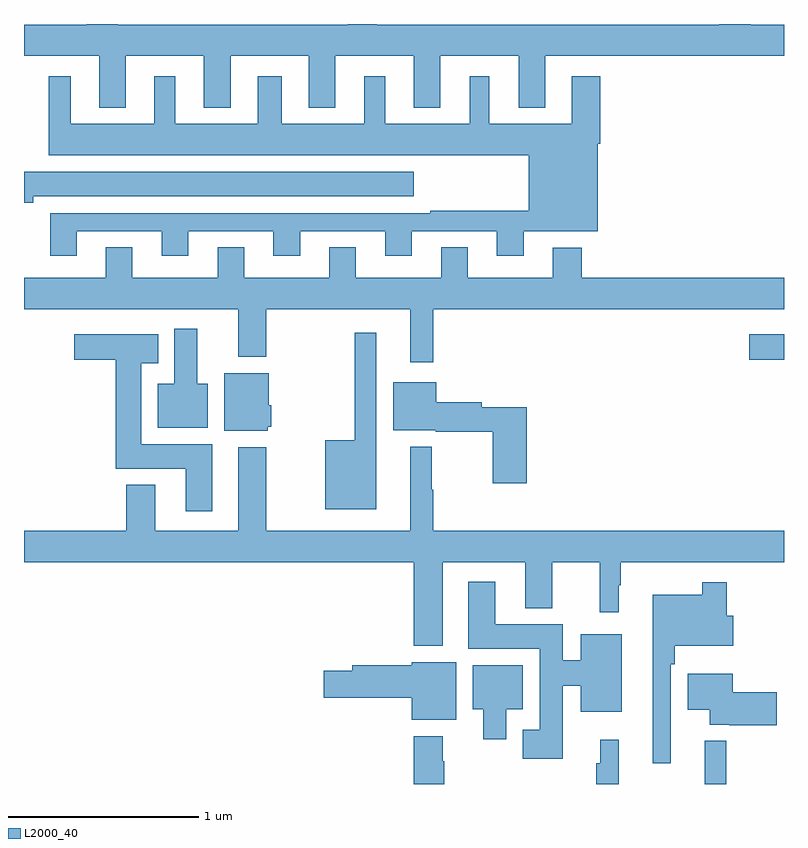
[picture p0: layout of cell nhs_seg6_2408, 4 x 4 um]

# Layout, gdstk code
import gdstk
lib = gdstk.Library(unit=1e-6, precision=1e-09)
def R(c, l, rs):  # rectangles x0, y0, x1, y1
    for r in rs: c.add(gdstk.rectangle(r[:2], r[2:], *l))
def P(c, l, *ps):  # polygons
    for p in ps: c.add(gdstk.Polygon(p, *l))
L2000_40 = (2000, 40)

nhs_seg6_2408 = lib.new_cell('nhs_seg6_2408')
R(nhs_seg6_2408, L2000_40, [(258.584,947.5,258.697,947.728), (258.816,949.733,259,949.867)])
P(nhs_seg6_2408, L2000_40, [(255.494,951.5),(255.329,951.5),(255.329,951.496),(255,951.496),(255,951.332),(255.395,951.332),(255.395,951.059),(255.535,951.059),(255.535,951.332),(255.947,951.332),(255.947,951.059),(256.087,951.059),(256.087,951.332),(256.499,951.332),(256.499,951.059),(256.639,951.059),(256.639,951.332),(257.051,951.332),(257.051,951.059),(257.191,951.059),(257.191,951.332),(257.603,951.332),(257.603,951.059),(257.743,951.059),(257.743,951.332),(259,951.332),(259,951.496),(258.824,951.496),(258.824,951.5),(258.659,951.5),(258.659,951.496),(256.856,951.496),(256.856,951.5),(256.704,951.5),(256.704,951.496),(255.494,951.496)],
  [(255.277,950.409),(255.725,950.409),(255.725,950.28),(255.865,950.28),(255.865,950.409),(256.313,950.409),(256.313,950.28),(256.453,950.28),(256.453,950.409),(256.901,950.409),(256.901,950.28),(257.041,950.28),(257.041,950.409),(257.489,950.409),(257.489,950.28),(257.629,950.28),(257.629,950.408),(258.019,950.408),(258.019,950.87),(258.032,950.87),(258.032,951.226),(257.882,951.226),(257.882,950.974),(257.449,950.974),(257.449,951.226),(257.345,951.226),(257.345,950.974),(256.9,950.974),(256.9,951.226),(256.79,951.226),(256.79,950.974),(256.357,950.974),(256.357,951.226),(256.229,951.226),(256.229,950.974),(255.796,950.974),(255.796,951.226),(255.686,951.226),(255.686,950.974),(255.247,950.974),(255.247,951.226),(255.131,951.226),(255.131,950.81),(257.657,950.81),(257.657,950.518),(257.137,950.518),(257.137,950.505),(255.137,950.505),(255.137,950.28),(255.277,950.28)],
  [(255.049,950.594),(257.05,950.594),(257.05,950.722),(255,950.722),(255,950.558),(255.049,950.558)],
  [(257.154,950),(259,950),(259,950.164),(257.936,950.164),(257.936,950.323),(257.783,950.323),(257.783,950.164),(257.335,950.164),(257.335,950.324),(257.195,950.324),(257.195,950.164),(256.747,950.164),(256.747,950.324),(256.607,950.324),(256.607,950.164),(256.159,950.164),(256.159,950.324),(256.019,950.324),(256.019,950.164),(255.571,950.164),(255.571,950.324),(255.431,950.324),(255.431,950.164),(255,950.164),(255,950),(256.127,950),(256.127,949.748),(256.275,949.748),(256.275,950),(257.033,950),(257.033,949.719),(257.154,949.719)],
  [(255.967,949.606),(255.913,949.606),(255.913,949.897),(255.791,949.897),(255.791,949.606),(255.704,949.606),(255.704,949.376),(255.967,949.376)],
  [(256.855,949.876),(256.741,949.876),(256.741,949.309),(256.586,949.309),(256.586,948.947),(256.855,948.947)],
  [(255.991,949.288),(255.616,949.288),(255.616,949.715),(255.706,949.715),(255.706,949.867),(255.264,949.867),(255.264,949.733),(255.482,949.733),(255.482,949.16),(255.851,949.16),(255.851,948.936),(255.991,948.936)],
  [(256.284,949.38),(256.3,949.38),(256.3,949.494),(256.288,949.494),(256.288,949.663),(256.055,949.663),(256.055,949.358),(256.284,949.358)],
  [(257.645,949.484),(257.41,949.484),(257.41,949.509),(257.17,949.509),(257.17,949.615),(256.943,949.615),(256.943,949.361),(257.166,949.361),(257.166,949.355),(257.467,949.355),(257.467,949.083),(257.645,949.083)],
  [(257.051,948.227),(257.203,948.227),(257.203,948.668),(257.639,948.668),(257.639,948.425),(257.779,948.425),(257.779,948.668),(258.031,948.668),(258.031,948.405),(258.13,948.405),(258.13,948.545),(258.142,948.545),(258.142,948.668),(259,948.668),(259,948.832),(257.154,948.832),(257.154,949.049),(257.147,949.049),(257.147,949.276),(257.033,949.276),(257.033,948.832),(256.275,948.832),(256.275,949.273),(256.127,949.273),(256.127,948.832),(255.691,948.832),(255.691,949.075),(255.539,949.075),(255.539,948.832),(255,948.832),(255,948.668),(257.051,948.668)],
  [(257.836,948.016),(257.93,948.016),(257.93,947.879),(258.145,947.879),(258.145,948.289),(257.93,948.289),(257.93,948.152),(257.836,948.152),(257.836,948.34),(257.479,948.34),(257.479,948.565),(257.339,948.565),(257.339,948.212),(257.714,948.212),(257.714,947.785),(257.624,947.785),(257.624,947.633),(257.836,947.633)],
  [(258.405,948.131),(258.425,948.131),(258.425,948.227),(258.733,948.227),(258.733,948.385),(258.698,948.385),(258.698,948.562),(258.57,948.562),(258.57,948.496),(258.308,948.496),(258.308,947.61),(258.405,947.61)],
  [(257.275,948.142),(257.042,948.142),(257.042,948.125),(256.727,948.125),(256.727,948.095),(256.578,948.095),(256.578,947.953),(257.042,947.953),(257.042,947.837),(257.275,947.837)],
  [(257.539,947.894),(257.626,947.894),(257.626,948.124),(257.363,948.124),(257.363,947.894),(257.417,947.894),(257.417,947.736),(257.539,947.736)],
  [(258.961,947.984),(258.73,947.984),(258.73,948.079),(258.494,948.079),(258.494,947.891),(258.608,947.891),(258.608,947.813),(258.712,947.813),(258.712,947.808),(258.961,947.808)],
  [(258.131,947.734),(258.032,947.734),(258.032,947.609),(258.013,947.609),(258.013,947.5),(258.131,947.5)],
  [(257.203,947.621),(257.203,947.752),(257.051,947.752),(257.051,947.5),(257.211,947.5),(257.211,947.621)])

lib.write_gds('nhs_seg6_2408.gds')
